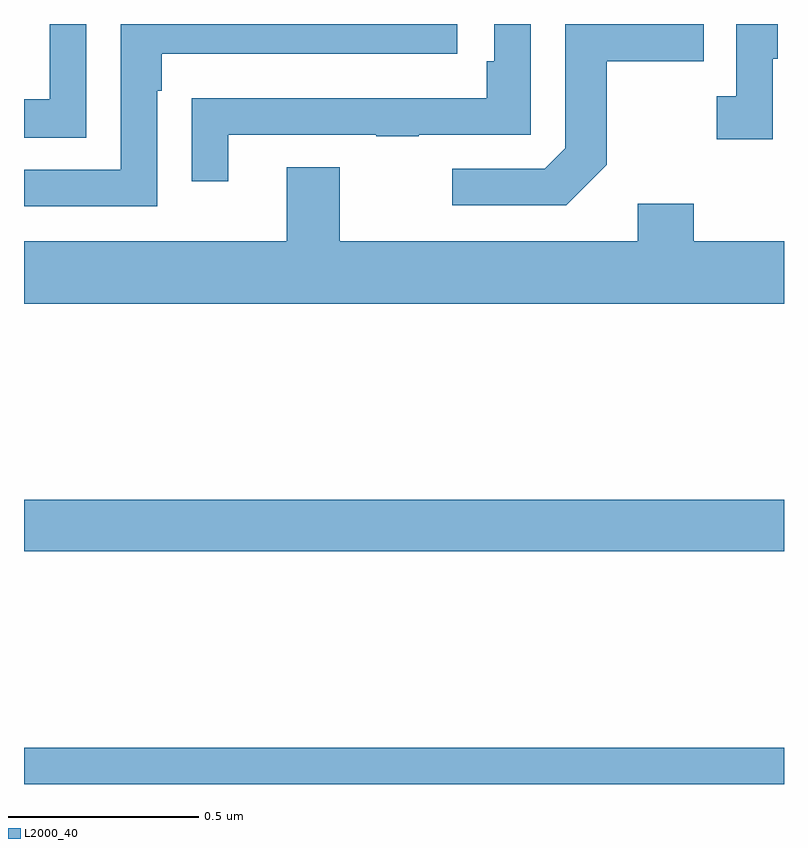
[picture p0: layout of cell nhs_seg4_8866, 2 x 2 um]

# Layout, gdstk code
import gdstk
lib = gdstk.Library(unit=1e-6, precision=1e-09)
def R(c, l, rs):  # rectangles x0, y0, x1, y1
    for r in rs: c.add(gdstk.rectangle(r[:2], r[2:], *l))
def P(c, l, *ps):  # polygons
    for p in ps: c.add(gdstk.Polygon(p, *l))
L2000_40 = (2000, 40)

nhs_seg4_8866 = lib.new_cell('nhs_seg4_8866')
R(nhs_seg4_8866, L2000_40, [(220,784.9,222,784.996), (220,785.512,222,785.648)])
P(nhs_seg4_8866, L2000_40, [(220.35,786.725),(220.363,786.725),(220.363,786.822),(221.14,786.822),(221.14,786.9),(220.254,786.9),(220.254,786.516),(220,786.516),(220,786.42),(220.35,786.42)],
  [(220.537,786.609),(220.927,786.609),(220.927,786.604),(221.039,786.604),(221.039,786.609),(221.334,786.609),(221.334,786.9),(221.238,786.9),(221.238,786.802),(221.218,786.802),(221.218,786.705),(220.543,786.705),(220.543,786.704),(220.441,786.704),(220.441,786.486),(220.537,786.486)],
  [(221.533,786.529),(221.533,786.802),(221.789,786.802),(221.789,786.9),(221.424,786.9),(221.424,786.573),(221.37,786.519),(221.127,786.519),(221.127,786.423),(221.427,786.423)],
  [(220.164,786.9),(220.068,786.9),(220.068,786.702),(220,786.702),(220,786.601),(220.164,786.601)],
  [(221.971,786.809),(221.983,786.809),(221.983,786.9),(221.874,786.9),(221.874,786.71),(221.823,786.71),(221.823,786.597),(221.971,786.597)],
  [(222,786.328),(221.763,786.328),(221.763,786.427),(221.615,786.427),(221.615,786.328),(220.831,786.328),(220.831,786.523),(220.691,786.523),(220.691,786.328),(220,786.328),(220,786.164),(222,786.164)])

lib.write_gds('nhs_seg4_8866.gds')
